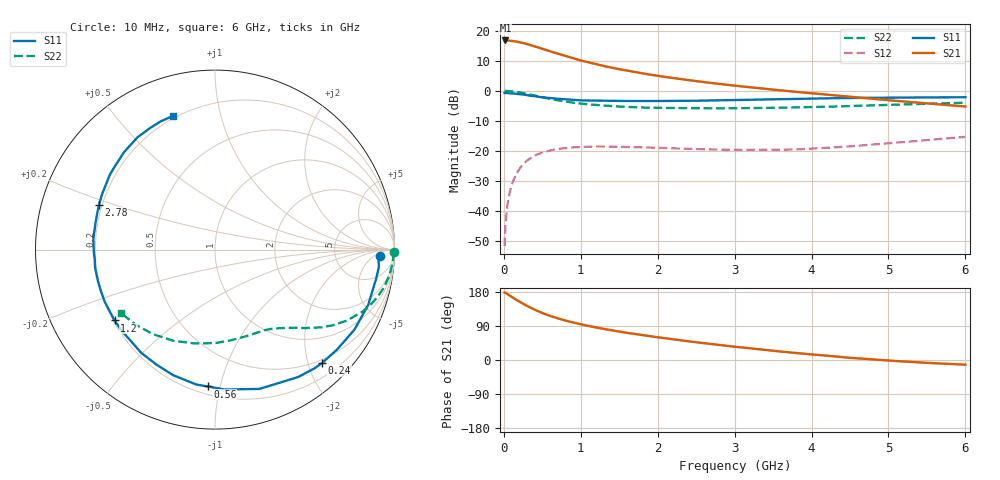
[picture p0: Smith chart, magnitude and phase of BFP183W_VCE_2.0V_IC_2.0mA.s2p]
! Infineon Technologies  Discrete & RF Semiconductors
! BFP183W
! VCE = 2.0 V,  IC =  2.0 mA
! Common Emitter S-Parameters:  Jan 2016
# GHz  S  MA  R  50
!  f  S11  S21  S12  S22
! GHz  MAG  ANG  MAG  ANG  MAG  ANG  MAG  ANG
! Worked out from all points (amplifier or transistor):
!   210 points, 10 MHz to 6 GHz, reference 50 ohm
!   highest |S21| = 16.7 dB at 20 MHz (marker M1)
!   |S21| within 3 dB of that: start of sweep to 528.4 MHz
!   unconditionally stable (mu >= 1): 2.335 GHz to end of sweep
!   at 185 MHz: K = 0.09, MSG = 21.5 dB, |S12| = -26.7 dB
!   at 1.52 GHz: K = 0.66, MSG = 12.9 dB, |S12| = -18.7 dB
!   at 6 GHz: K = 1.05, MAG = 3.7 dB, |S12| = -15.3 dB
!   S11 on the Smith chart (normalised r, x): 10 MHz: 20, -9; 240 MHz: 0.44, -2.25; 560 MHz: 0.25, -0.92; 1.2 GHz: 0.21, -0.31; 2.78 GHz: 0.19, +0.18; 6 GHz: 0.19, +0.71
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0.01  0.9188 -2.1  6.806 178.0  0.0026 86.3  0.9969 -0.9
0.02  0.914 -4.1  6.866 177.5  0.0054 86.2  0.9948 -1.7
0.05  0.9126 -10.1  6.858 173.5  0.0135 83.5  0.9921 -4.3
0.085  0.9062 -17.0  6.773 168.9  0.0224 79.2  0.9847 -7.2
0.165  0.8883 -32.7  6.575 158.4  0.0415 71.1  0.9579 -13.7
0.2  0.879 -39.3  6.45 154.0  0.0495 67.8  0.9428 -16.2
0.24  0.869 -46.6  6.277 149.7  0.0578 63.5  0.9222 -19.1
0.3  0.8477 -56.9  5.985 142.6  0.0689 57.9  0.8894 -23.0
0.4  0.8147 -72.3  5.499 132.7  0.0835 49.8  0.8331 -28.4
0.5  0.7813 -86.0  4.998 123.8  0.0943 43.1  0.7804 -32.7
0.56  0.7638 -93.1  4.715 119.5  0.0988 39.7  0.7519 -34.7
0.7  0.7375 -108.4  4.156 109.9  0.1078 33.1  0.6948 -38.8
0.8  0.7191 -116.9  3.782 104.0  0.1114 29.0  0.6612 -41.4
1.02  0.6912 -133.6  3.144 93.5  0.1162 22.5  0.608 -45.7
1.2  0.6846 -144.8  2.761 85.8  0.1182 18.2  0.5801 -48.9
1.6  0.6756 -164.0  2.165 71.6  0.1164 13.0  0.5392 -55.2
2.02  0.6756 -179.5  1.758 59.5  0.1125 10.8  0.5201 -62.2
2.78  0.6932 158.8  1.307 40.2  0.1054 12.2  0.5109 -76.2
3.1  0.7044 151.1  1.179 33.0  0.1039 14.5  0.5136 -82.7
4.1  0.7453 131.2  0.886 13.1  0.1107 25.0  0.5381 -105.2
5.1  0.7693 116.9  0.679 -2.8  0.1366 32.1  0.5876 -128.5
6  0.7803 107.6  0.547 -12.4  0.171 32.9  0.6326 -146.2
